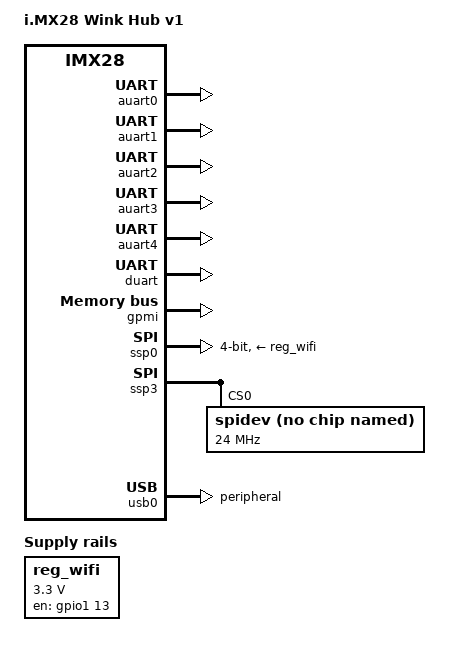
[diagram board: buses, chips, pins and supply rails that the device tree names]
// SPDX-License-Identifier: GPL-2.0+
// Copyright (C) 2023 Fabio Estevam <festevam@gmail.com>

/dts-v1/;
#include <dt-bindings/gpio/gpio.h>
#include "imx28.dtsi"
/ {
	model = "i.MX28 Wink Hub v1";
	compatible = "wink,imx28-wink-hub-v1", "fsl,imx28";

	memory@40000000 {
		device_type = "memory";
		reg = <0x40000000 0>; /* will be filled in by U-Boot */
	};

	reg_wifi: regulator-wifi {
		compatible = "regulator-fixed";
		pinctrl-names = "default";
		pinctrl-0 = <&wifi_enable>;
		regulator-name = "wifi";
		regulator-min-microvolt = <3300000>;
		regulator-max-microvolt = <3300000>;
		gpio = <&gpio1 13 GPIO_ACTIVE_HIGH>;
		enable-active-high;
	};
};

&auart0 {
	pinctrl-names = "default";
	pinctrl-0 = <&auart0_pins_a>;
	uart-has-rtscts;
	status = "okay";
};

&auart1 {
	pinctrl-names = "default";
	pinctrl-0 = <&auart1_2pins_a>;
	status = "okay";
};

&auart2 {
	pinctrl-names = "default";
	pinctrl-0 = <&auart2_2pins_a>;
	status = "okay";
};

&auart3 {
	pinctrl-names = "default";
	pinctrl-0 = <&auart3_2pins_a>;
	status = "okay";
};

&auart4 {
	pinctrl-names = "default";
	pinctrl-0 = <&auart4_pins>;
	uart-has-rtscts;
	status = "okay";
};

&duart {
	pinctrl-names = "default";
	pinctrl-0 = <&duart_pins_c>;
	status = "okay";
};

&gpmi {
	pinctrl-names = "default";
	pinctrl-0 = <&gpmi_pins_a &gpmi_status_cfg &gpmi_pins_extra>;
	status = "okay";

	partition@0 {
		label = "gpmi-nfc-0-boot";
		reg = <0x0000000 0x300000>;
		read-only;
        };

	partition@300000 {
		label = "updater-kernel";
		reg = <0x0300000 0x400000>;
	};

	partition@700000 {
		label = "updater-rootfs";
		reg = <0x0700000 0x1c00000>;
        };

	partition@2300000 {
		label = "database";
		reg = <0x2300000 0x0800000>;
	};

	partition@2b00000 {
		label = "app-kernel";
		reg = <0x2b00000 0x0800000>;
        };

	partition@3300000 {
		label = "gpmi-nfc-general-use";
		reg = <0x3300000 0x4d00000>;
        };
};

&ssp0 {
	compatible = "fsl,imx28-mmc";
	pinctrl-names = "default";
	pinctrl-0 = <&mmc0_4bit_pins_a &mmc0_sck_cfg>;
	vmmc-supply = <&reg_wifi>;
	bus-width = <4>;
	status = "okay";
};

&ssp3 {
	compatible = "fsl,imx28-spi";
	pinctrl-names = "default";
	pinctrl-0 = <&spi3_pins_b>;
	status = "okay";

	spidev@0 {
		/* Generic compatible to make spidev happy */
		compatible = "rohm,dh2228fv";
		reg = <0>;
		spi-max-frequency = <24000000>;
	};
};

&usb0 {
	dr_mode = "peripheral";
	status = "okay";
};

&pinctrl {
	gpmi_pins_extra: gpmi-pins-extra@0 {
		reg = <0>;
		fsl,pinmux-ids = <
			MX28_PAD_GPMI_CE1N__GPMI_CE1N
			MX28_PAD_GPMI_RDY1__GPMI_READY1
		>;
		fsl,drive-strength = <MXS_DRIVE_4mA>;
		fsl,voltage = <MXS_VOLTAGE_HIGH>;
		fsl,pull-up = <MXS_PULL_DISABLE>;
	};

	wifi_enable: wifi-enable@1 {
		reg = <1>;
		fsl,pinmux-ids = <
			MX28_PAD_LCD_D13__GPIO_1_13
		>;
		fsl,drive-strength = <MXS_DRIVE_4mA>;
		fsl,voltage = <MXS_VOLTAGE_HIGH>;
		fsl,pull-up = <MXS_PULL_DISABLE>;
	};


	auart4_pins: auart4@2 {
		reg = <2>;
		fsl,pinmux-ids = <
			MX28_PAD_SAIF0_BITCLK__AUART4_RX
			MX28_PAD_SAIF0_SDATA0__AUART4_TX
			MX28_PAD_SAIF0_MCLK__AUART4_CTS
			MX28_PAD_SAIF0_LRCLK__AUART4_RTS
		>;
		fsl,drive-strength = <MXS_DRIVE_4mA>;
		fsl,voltage = <MXS_VOLTAGE_HIGH>;
		fsl,pull-up = <MXS_PULL_DISABLE>;
	};
};
